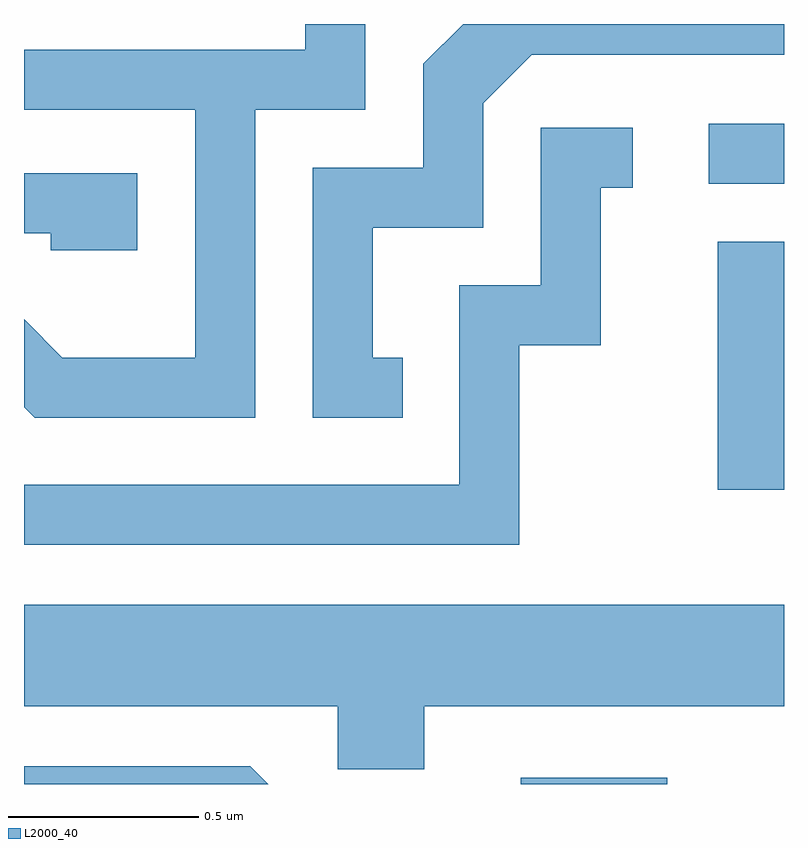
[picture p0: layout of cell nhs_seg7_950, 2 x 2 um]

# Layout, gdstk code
import gdstk
lib = gdstk.Library(unit=1e-6, precision=1e-09)
def R(c, l, rs):  # rectangles x0, y0, x1, y1
    for r in rs: c.add(gdstk.rectangle(r[:2], r[2:], *l))
def P(c, l, *ps):  # polygons
    for p in ps: c.add(gdstk.Polygon(p, *l))
L2000_40 = (2000, 40)

nhs_seg7_950 = lib.new_cell('nhs_seg7_950')
R(nhs_seg7_950, L2000_40, [(192.918,1796.252,193.304,1796.269), (193.436,1797.026,193.611,1797.679), (193.413,1797.831,193.611,1797.989)])
P(nhs_seg7_950, L2000_40, [(192.608,1797.374),(192.529,1797.374),(192.529,1797.716),(192.819,1797.716),(192.819,1798.044),(192.947,1798.171),(193.611,1798.171),(193.611,1798.252),(192.767,1798.252),(192.661,1798.147),(192.661,1797.874),(192.371,1797.874),(192.371,1797.216),(192.608,1797.216)],
  [(192.219,1798.026),(192.509,1798.026),(192.509,1798.252),(192.351,1798.252),(192.351,1798.184),(191.611,1798.184),(191.611,1798.026),(192.061,1798.026),(192.061,1797.374),(191.712,1797.374),(191.611,1797.475),(191.611,1797.244),(191.639,1797.216),(192.219,1797.216)],
  [(192.914,1797.406),(193.129,1797.406),(193.129,1797.821),(193.213,1797.821),(193.213,1797.979),(192.971,1797.979),(192.971,1797.564),(192.756,1797.564),(192.756,1797.039),(191.611,1797.039),(191.611,1796.881),(192.914,1796.881)],
  [(191.909,1797.859),(191.611,1797.859),(191.611,1797.701),(191.681,1797.701),(191.681,1797.656),(191.909,1797.656)],
  [(192.664,1796.456),(193.611,1796.456),(193.611,1796.724),(191.611,1796.724),(191.611,1796.456),(192.436,1796.456),(192.436,1796.291),(192.664,1796.291)],
  [(192.207,1796.299),(191.611,1796.299),(191.611,1796.252),(192.254,1796.252)])

lib.write_gds('nhs_seg7_950.gds')
